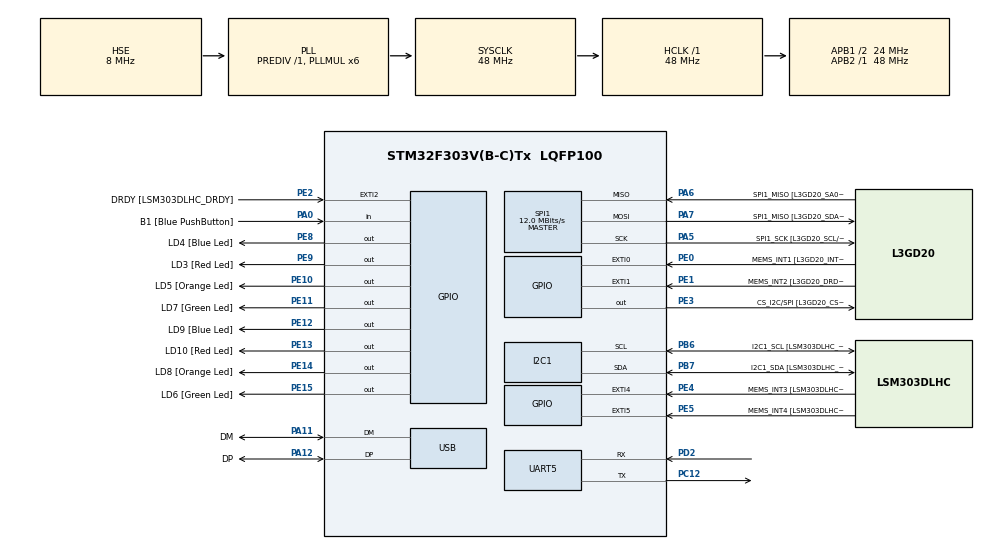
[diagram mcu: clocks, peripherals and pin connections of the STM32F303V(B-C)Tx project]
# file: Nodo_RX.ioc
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I2C1.Timing=0x2000090E
I2C1.Timing-I2C=0x2000090E
Mcu.Family=STM32F3
Mcu.Name=STM32F303V(B-C)Tx
Mcu.Package=LQFP100
NVIC.PriorityGroup=NVIC_PRIORITYGROUP_0
NVIC.UART5_IRQn=true\:0\:0\:false\:false\:true\:true\:true\:true
PA0.GPIO_Label=B1 [Blue PushButton]
PA0.Signal=GPIO_Input
PA11.GPIO_Label=DM
PA11.Mode=Device
PA11.Signal=USB_DM
PA12.GPIO_Label=DP
PA12.Mode=Device
PA12.Signal=USB_DP
PA13.GPIO_Label=SWDIO
PA13.Mode=Serial_Wire
PA13.Signal=SYS_JTMS-SWDIO
PA14.GPIO_Label=SWCLK
PA14.Mode=Serial_Wire
PA14.Signal=SYS_JTCK-SWCLK
PA5.GPIO_Label=SPI1_SCK [L3GD20_SCL/SPC]
PA5.Mode=Full_Duplex_Master
PA5.Signal=SPI1_SCK
PA6.GPIO_Label=SPI1_MISO [L3GD20_SA0/SDO]
PA6.Mode=Full_Duplex_Master
PA6.Signal=SPI1_MISO
PA7.GPIO_Label=SPI1_MISO [L3GD20_SDA/SDI/SDO]
PA7.Mode=Full_Duplex_Master
PA7.Signal=SPI1_MOSI
PB3.GPIO_Label=SWO
PB3.Signal=SYS_JTDO-TRACESWO
PB6.GPIO_Label=I2C1_SCL [LSM303DLHC_SCL]
PB6.GPIO_Pu=GPIO_PULLUP
PB6.Mode=I2C
PB6.Signal=I2C1_SCL
PB7.GPIO_Label=I2C1_SDA [LSM303DLHC_SDA]
PB7.GPIO_Pu=GPIO_PULLUP
PB7.Mode=I2C
PB7.Signal=I2C1_SDA
PC12.Mode=Asynchronous
PC12.Signal=UART5_TX
PC14-OSC32_IN.GPIO_Label=OSC32_IN
PC14-OSC32_IN.Signal=RCC_OSC32_IN
PC15-OSC32_OUT.GPIO_Label=OSC32_OUT
PC15-OSC32_OUT.Signal=RCC_OSC32_OUT
PD2.Mode=Asynchronous
PD2.Signal=UART5_RX
PE0.GPIO_Label=MEMS_INT1 [L3GD20_INT1]
PE0.GPIO_ModeDefaultEXTI=GPIO_MODE_EVT_RISING
PE0.Signal=GPXTI0
PE1.GPIO_Label=MEMS_INT2 [L3GD20_DRDY/INT2]
PE1.GPIO_ModeDefaultEXTI=GPIO_MODE_EVT_RISING
PE1.Signal=GPXTI1
PE10.GPIO_Label=LD5 [Orange Led]
PE10.Signal=GPIO_Output
PE11.GPIO_Label=LD7 [Green Led]
PE11.Signal=GPIO_Output
PE12.GPIO_Label=LD9 [Blue Led]
PE12.Signal=GPIO_Output
PE13.GPIO_Label=LD10 [Red Led]
PE13.Signal=GPIO_Output
PE14.GPIO_Label=LD8 [Orange Led]
PE14.Signal=GPIO_Output
PE15.GPIO_Label=LD6 [Green Led]
PE15.Signal=GPIO_Output
PE2.GPIO_Label=DRDY [LSM303DLHC_DRDY]
PE2.GPIO_ModeDefaultEXTI=GPIO_MODE_EVT_RISING
PE2.Signal=GPXTI2
PE3.GPIO_Label=CS_I2C/SPI [L3GD20_CS_I2C/SPI]
PE3.Signal=GPIO_Output
PE4.GPIO_Label=MEMS_INT3 [LSM303DLHC_INT1]
PE4.GPIO_ModeDefaultEXTI=GPIO_MODE_EVT_RISING
PE4.Signal=GPXTI4
PE5.GPIO_Label=MEMS_INT4 [LSM303DLHC_INT2]
PE5.GPIO_ModeDefaultEXTI=GPIO_MODE_EVT_RISING
PE5.Signal=GPXTI5
PE8.GPIO_Label=LD4 [Blue Led]
PE8.Signal=GPIO_Output
PE9.GPIO_Label=LD3 [Red Led]
PE9.Signal=GPIO_Output
PF0-OSC_IN.GPIO_Label=OSC_IN
PF0-OSC_IN.Mode=HSE-External-Clock-Source
PF0-OSC_IN.Signal=RCC_OSC_IN
PF1-OSC_OUT.GPIO_Label=OSC_OUT
PF1-OSC_OUT.Signal=RCC_OSC_OUT
ProjectManager.HeapSize=0x200
ProjectManager.StackSize=0x400
ProjectManager.TargetToolchain=STM32CubeIDE
RCC.AHBFreq_Value=48000000
RCC.APB1CLKDivider=RCC_HCLK_DIV2
RCC.APB1Freq_Value=24000000
RCC.APB1TimFreq_Value=48000000
RCC.APB2Freq_Value=48000000
RCC.APB2TimFreq_Value=48000000
RCC.CortexFreq_Value=48000000
RCC.HCLKFreq_Value=48000000
RCC.HSE_VALUE=8000000
RCC.HSI_VALUE=8000000
RCC.LSE_VALUE=32768
RCC.PLLMUL=RCC_PLL_MUL6
RCC.SYSCLKFreq_VALUE=48000000
RCC.SYSCLKSourceVirtual=RCC_SYSCLKSOURCE_PLLCLK
RCC.USBFreq_Value=48000000
SPI1.BaudRatePrescaler=SPI_BAUDRATEPRESCALER_4
SPI1.BaudRatePrescaler-Full_Duplex_Master=SPI_BAUDRATEPRESCALER_2
SPI1.CalculateBaudRate=12.0 MBits/s
SPI1.CalculateBaudRate-Full_Duplex_Master=24.0 MBits/s
SPI1.Direction=SPI_DIRECTION_2LINES
SPI1.Mode=SPI_MODE_MASTER
SPI1.Mode-Full_Duplex_Master=SPI_MODE_MASTER
SPI1.VirtualType=VM_MASTER
board=STM32F3DISCOVERY

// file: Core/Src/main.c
/* USER CODE BEGIN Header */
/**
  ******************************************************************************
  * @file           : main.c
  * @brief          : Main program body
  ******************************************************************************
  * @attention
  *
  * Copyright (c) 2025 STMicroelectronics.
  * All rights reserved.
  *
  * This software is licensed under terms that can be found in the LICENSE file
  * in the root directory of this software component.
  * If no LICENSE file comes with this software, it is provided AS-IS.
  *
  ******************************************************************************
  */
/* USER CODE END Header */
#include "main.h"

/* USER CODE BEGIN Includes */
#include "ssd1306.h"
#include "ssd1306_fonts.h"
#include "ssd1306_conf.h"
#include "string.h"
#include <stdio.h>
/* USER CODE END Includes */

I2C_HandleTypeDef hi2c1;

SPI_HandleTypeDef hspi1;

UART_HandleTypeDef huart5;

PCD_HandleTypeDef hpcd_USB_FS;

/* USER CODE BEGIN PV */

uint8_t buffer_rx[4];
uint32_t received;
char stato[20]="";
uint32_t max_value=15;
uint32_t rimanente;

/* USER CODE END PV */

void SystemClock_Config(void);
static void MX_GPIO_Init(void);
static void MX_I2C1_Init(void);
static void MX_SPI1_Init(void);
static void MX_USB_PCD_Init(void);
static void MX_UART5_Init(void);
/* USER CODE BEGIN PFP */
void Calculate_Level();
void Show_On_Display();
/* USER CODE END PFP */

/* USER CODE BEGIN 0 */
void HAL_UART_RxCpltCallback(UART_HandleTypeDef *huart)
{
  if (huart->Instance == UART5)
  {
	  received =
	      (uint32_t)buffer_rx[0]       |
	      ((uint32_t)buffer_rx[1] << 8)  |
	      ((uint32_t)buffer_rx[2] << 16) |
	      ((uint32_t)buffer_rx[3] << 24);

      HAL_UART_Receive_IT(&huart5, buffer_rx, sizeof(buffer_rx));

  }
}

void Calculate_Level()
{
	 if (received < (max_value+1) ){
		 rimanente = max_value - received;
	 }
	 else {
		 rimanente= max_value;
	 }

	 memset(stato, 0, sizeof(stato));

	 if (rimanente >= 7) {
		 strcpy(stato, "ALTO");
	 } else if (rimanente >= 3) {
		 strcpy(stato, "MEDIO");
	 } else{
		 strcpy(stato, "BASSO");
	 }

}
void Show_On_Display()
{

	 ssd1306_SetCursor(10, 0);
	 ssd1306_WriteString("APC25", Font_11x18, White);

	 ssd1306_SetCursor(10, 22);
	 ssd1306_WriteString("il livello e'", Font_7x10, White);

	 ssd1306_FillRectangle(10, 38, 10 + 11 * 10, 38 + 18, Black);
	 ssd1306_SetCursor(10, 38);
	 ssd1306_WriteString(stato, Font_11x18, White);

	 ssd1306_UpdateScreen();
	 HAL_Delay(1000);

}

/* USER CODE END 0 */

int main(void)
{

  /* MCU Configuration--------------------------------------------------------*/

  /* Reset of all peripherals, Initializes the Flash interface and the Systick. */
  HAL_Init();

  /* Configure the system clock */
  SystemClock_Config();

  /* Initialize all configured peripherals */
  MX_GPIO_Init();
  MX_I2C1_Init();
  MX_SPI1_Init();
  MX_USB_PCD_Init();
  MX_UART5_Init();
  /* USER CODE BEGIN 2 */

  ssd1306_Init();

  HAL_UART_Receive_IT(&huart5, buffer_rx, sizeof(buffer_rx));

  HAL_Delay(200);

  /* USER CODE END 2 */

  /* Infinite loop */
  /* USER CODE BEGIN WHILE */
  while (1)
  {
	    Calculate_Level();
		Show_On_Display();

		HAL_Delay(200);
    /* USER CODE END WHILE */

  }
}

void SystemClock_Config(void)
{
  RCC_OscInitTypeDef RCC_OscInitStruct = {0};
  RCC_ClkInitTypeDef RCC_ClkInitStruct = {0};
  RCC_PeriphCLKInitTypeDef PeriphClkInit = {0};

  /** Initializes the RCC Oscillators according to the specified parameters
  * in the RCC_OscInitTypeDef structure.
  */
  RCC_OscInitStruct.OscillatorType = RCC_OSCILLATORTYPE_HSE;
  RCC_OscInitStruct.HSEState = RCC_HSE_ON;
  RCC_OscInitStruct.HSEPredivValue = RCC_HSE_PREDIV_DIV1;
  RCC_OscInitStruct.HSIState = RCC_HSI_ON;
  RCC_OscInitStruct.PLL.PLLState = RCC_PLL_ON;
  RCC_OscInitStruct.PLL.PLLSource = RCC_PLLSOURCE_HSE;
  RCC_OscInitStruct.PLL.PLLMUL = RCC_PLL_MUL6;
  if (HAL_RCC_OscConfig(&RCC_OscInitStruct) != HAL_OK)
  {
    Error_Handler();
  }

  /** Initializes the CPU, AHB and APB buses clocks
  */
  RCC_ClkInitStruct.ClockType = RCC_CLOCKTYPE_HCLK|RCC_CLOCKTYPE_SYSCLK
                              |RCC_CLOCKTYPE_PCLK1|RCC_CLOCKTYPE_PCLK2;
  RCC_ClkInitStruct.SYSCLKSource = RCC_SYSCLKSOURCE_PLLCLK;
  RCC_ClkInitStruct.AHBCLKDivider = RCC_SYSCLK_DIV1;
  RCC_ClkInitStruct.APB1CLKDivider = RCC_HCLK_DIV2;
  RCC_ClkInitStruct.APB2CLKDivider = RCC_HCLK_DIV1;

  if (HAL_RCC_ClockConfig(&RCC_ClkInitStruct, FLASH_LATENCY_1) != HAL_OK)
  {
    Error_Handler();
  }
  PeriphClkInit.PeriphClockSelection = RCC_PERIPHCLK_USB|RCC_PERIPHCLK_UART5;
  PeriphClkInit.Uart5ClockSelection = RCC_UART5CLKSOURCE_PCLK1;
  PeriphClkInit.USBClockSelection = RCC_USBCLKSOURCE_PLL;
  if (HAL_RCCEx_PeriphCLKConfig(&PeriphClkInit) != HAL_OK)
  {
    Error_Handler();
  }
}

static void MX_I2C1_Init(void)
{

  hi2c1.Instance = I2C1;
  hi2c1.Init.Timing = 0x2000090E;
  hi2c1.Init.OwnAddress1 = 0;
  hi2c1.Init.AddressingMode = I2C_ADDRESSINGMODE_7BIT;
  hi2c1.Init.DualAddressMode = I2C_DUALADDRESS_DISABLE;
  hi2c1.Init.OwnAddress2 = 0;
  hi2c1.Init.OwnAddress2Masks = I2C_OA2_NOMASK;
  hi2c1.Init.GeneralCallMode = I2C_GENERALCALL_DISABLE;
  hi2c1.Init.NoStretchMode = I2C_NOSTRETCH_DISABLE;
  if (HAL_I2C_Init(&hi2c1) != HAL_OK)
  {
    Error_Handler();
  }

  /** Configure Analogue filter
  */
  if (HAL_I2CEx_ConfigAnalogFilter(&hi2c1, I2C_ANALOGFILTER_ENABLE) != HAL_OK)
  {
    Error_Handler();
  }

  /** Configure Digital filter
  */
  if (HAL_I2CEx_ConfigDigitalFilter(&hi2c1, 0) != HAL_OK)
  {
    Error_Handler();
  }

}

static void MX_SPI1_Init(void)
{

  /* SPI1 parameter configuration*/
  hspi1.Instance = SPI1;
  hspi1.Init.Mode = SPI_MODE_MASTER;
  hspi1.Init.Direction = SPI_DIRECTION_2LINES;
  hspi1.Init.DataSize = SPI_DATASIZE_4BIT;
  hspi1.Init.CLKPolarity = SPI_POLARITY_LOW;
  hspi1.Init.CLKPhase = SPI_PHASE_1EDGE;
  hspi1.Init.NSS = SPI_NSS_SOFT;
  hspi1.Init.BaudRatePrescaler = SPI_BAUDRATEPRESCALER_4;
  hspi1.Init.FirstBit = SPI_FIRSTBIT_MSB;
  hspi1.Init.TIMode = SPI_TIMODE_DISABLE;
  hspi1.Init.CRCCalculation = SPI_CRCCALCULATION_DISABLE;
  hspi1.Init.CRCPolynomial = 7;
  hspi1.Init.CRCLength = SPI_CRC_LENGTH_DATASIZE;
  hspi1.Init.NSSPMode = SPI_NSS_PULSE_ENABLE;
  if (HAL_SPI_Init(&hspi1) != HAL_OK)
  {
    Error_Handler();
  }

}

static void MX_UART5_Init(void)
{

  huart5.Instance = UART5;
  huart5.Init.BaudRate = 115200;
  huart5.Init.WordLength = UART_WORDLENGTH_8B;
  huart5.Init.StopBits = UART_STOPBITS_1;
  huart5.Init.Parity = UART_PARITY_NONE;
  huart5.Init.Mode = UART_MODE_TX_RX;
  huart5.Init.HwFlowCtl = UART_HWCONTROL_NONE;
  huart5.Init.OverSampling = UART_OVERSAMPLING_16;
  huart5.Init.OneBitSampling = UART_ONE_BIT_SAMPLE_DISABLE;
  huart5.AdvancedInit.AdvFeatureInit = UART_ADVFEATURE_NO_INIT;
  if (HAL_UART_Init(&huart5) != HAL_OK)
  {
    Error_Handler();
  }

}

static void MX_USB_PCD_Init(void)
{

  hpcd_USB_FS.Instance = USB;
  hpcd_USB_FS.Init.dev_endpoints = 8;
  hpcd_USB_FS.Init.speed = PCD_SPEED_FULL;
  hpcd_USB_FS.Init.phy_itface = PCD_PHY_EMBEDDED;
  hpcd_USB_FS.Init.low_power_enable = DISABLE;
  hpcd_USB_FS.Init.battery_charging_enable = DISABLE;
  if (HAL_PCD_Init(&hpcd_USB_FS) != HAL_OK)
  {
    Error_Handler();
  }

}

static void MX_GPIO_Init(void)
{
  GPIO_InitTypeDef GPIO_InitStruct = {0};

  /* GPIO Ports Clock Enable */
  __HAL_RCC_GPIOE_CLK_ENABLE();
  __HAL_RCC_GPIOC_CLK_ENABLE();
  __HAL_RCC_GPIOF_CLK_ENABLE();
  __HAL_RCC_GPIOA_CLK_ENABLE();
  __HAL_RCC_GPIOD_CLK_ENABLE();
  __HAL_RCC_GPIOB_CLK_ENABLE();

  /*Configure GPIO pin Output Level */
  HAL_GPIO_WritePin(GPIOE, CS_I2C_SPI_Pin|LD4_Pin|LD3_Pin|LD5_Pin
                          |LD7_Pin|LD9_Pin|LD10_Pin|LD8_Pin
                          |LD6_Pin, GPIO_PIN_RESET);

  /*Configure GPIO pins : DRDY_Pin MEMS_INT3_Pin MEMS_INT4_Pin MEMS_INT1_Pin
                           MEMS_INT2_Pin */
  GPIO_InitStruct.Pin = DRDY_Pin|MEMS_INT3_Pin|MEMS_INT4_Pin|MEMS_INT1_Pin
                          |MEMS_INT2_Pin;
  GPIO_InitStruct.Mode = GPIO_MODE_EVT_RISING;
  GPIO_InitStruct.Pull = GPIO_NOPULL;
  HAL_GPIO_Init(GPIOE, &GPIO_InitStruct);

  /*Configure GPIO pins : CS_I2C_SPI_Pin LD4_Pin LD3_Pin LD5_Pin
                           LD7_Pin LD9_Pin LD10_Pin LD8_Pin
                           LD6_Pin */
  GPIO_InitStruct.Pin = CS_I2C_SPI_Pin|LD4_Pin|LD3_Pin|LD5_Pin
                          |LD7_Pin|LD9_Pin|LD10_Pin|LD8_Pin
                          |LD6_Pin;
  GPIO_InitStruct.Mode = GPIO_MODE_OUTPUT_PP;
  GPIO_InitStruct.Pull = GPIO_NOPULL;
  GPIO_InitStruct.Speed = GPIO_SPEED_FREQ_LOW;
  HAL_GPIO_Init(GPIOE, &GPIO_InitStruct);

  /*Configure GPIO pin : B1_Pin */
  GPIO_InitStruct.Pin = B1_Pin;
  GPIO_InitStruct.Mode = GPIO_MODE_INPUT;
  GPIO_InitStruct.Pull = GPIO_NOPULL;
  HAL_GPIO_Init(B1_GPIO_Port, &GPIO_InitStruct);

}

void Error_Handler(void)
{
  __disable_irq();
  while (1)
  {
  }
}
